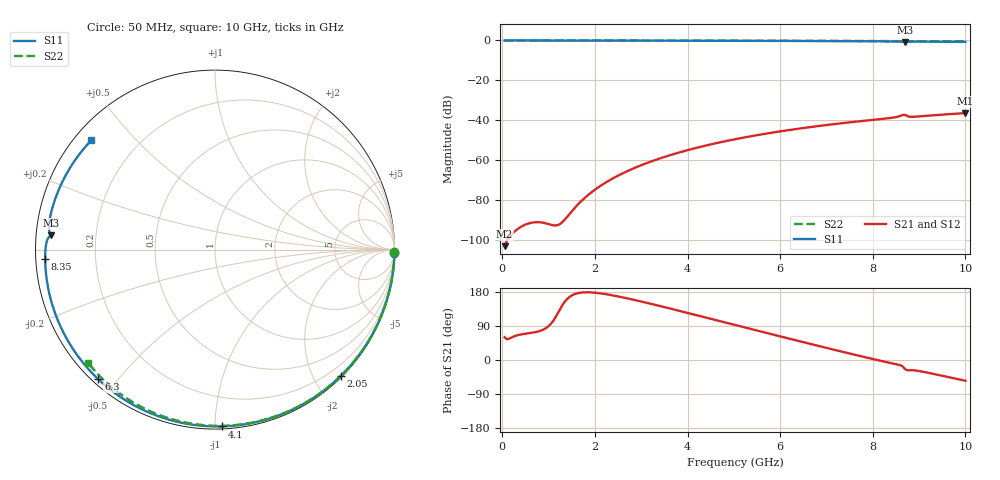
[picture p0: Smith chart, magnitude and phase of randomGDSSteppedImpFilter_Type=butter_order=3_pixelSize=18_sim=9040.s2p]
! freq	dB(S11)	phase(S11)	dB(S12)	phase(S12)
!  dB(S21)	phase(S21)	dB(S22)	phase(S22)
!S-par simulation data
#  GHz  S  DB  R 50
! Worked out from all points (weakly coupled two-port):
!   200 points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, 50 MHz to 10 GHz, reference 50 ohm
!   highest |S21| = -36.44 dB at 10 GHz (marker M1); lowest = -103.2 dB at 50 MHz (marker M2)
!   lowest |S11| = -0.8 dB at 8.7 GHz (marker M3), VSWR 22.61, Z = 2.22 + j2.2 ohm
!   |S11| at or under -10 dB: nowhere
!   |S22| runs from -0.5 to 0.0 dB; largest |S21 - S12| = 0
!   S11 on the Smith chart (normalised r, x): 50 MHz: open; 2.05 GHz: 0.02, -2.40; 4.1 GHz: 0.01, -1.04; 6.3 GHz: 0.02, -0.45; 8.35 GHz: 0.03, -0.03; 10 GHz: 0.05, +0.38
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0.05  -0.00 -1.1  -103.17 59.9  -103.17 59.9  -0.00 -0.8
0.85  -0.02 -19.0  -91.29 78.3  -91.29 78.3  -0.02 -13.5
1.7  -0.05 -37.6  -80.68 177.9  -80.68 177.9  -0.03 -26.8
1.75  -0.05 -38.7  -79.59 178.4  -79.59 178.4  -0.04 -27.6
2.05  -0.06 -45.2  -74.03 176.9  -74.03 176.9  -0.04 -32.2
2.35  -0.07 -51.6  -69.67 171.3  -69.67 171.3  -0.05 -36.8
2.65  -0.07 -57.9  -66.08 164.0  -66.08 164.0  -0.05 -41.4
3  -0.08 -65.3  -62.57 154.3  -62.57 154.3  -0.06 -46.6
3.4  -0.10 -73.6  -59.18 142.6  -59.18 142.6  -0.07 -52.5
4.1  -0.12 -87.8  -54.40 121.2  -54.40 121.2  -0.09 -62.6
5.05  -0.17 -106.9  -49.43 91.6  -49.43 91.6  -0.12 -75.9
5.65  -0.20 -118.9  -46.91 73.1  -46.91 73.1  -0.14 -84.0
6.3  -0.25 -132.0  -44.57 53.1  -44.57 53.1  -0.17 -92.6
6.7  -0.28 -140.2  -43.29 41.0  -43.29 41.0  -0.19 -97.8
7.55  -0.36 -158.3  -40.93 15.6  -40.93 15.6  -0.24 -108.5
8.35  -0.47 -176.8  -38.96 -7.0  -38.96 -7.0  -0.30 -118.4
8.7  -0.77 175.0  -37.35 -24.3  -37.35 -24.3  -0.33 -122.7
8.75  -0.69 174.4  -38.00 -27.2  -38.00 -27.2  -0.34 -123.3
8.85  -0.59 171.7  -38.30 -26.9  -38.30 -26.9  -0.35 -124.5
9.3  -0.61 159.3  -37.53 -36.4  -37.53 -36.4  -0.39 -129.9
9.65  -0.66 149.3  -36.96 -45.6  -36.96 -45.6  -0.43 -134.1
10  -0.73 138.6  -36.44 -54.8  -36.44 -54.8  -0.47 -138.4
